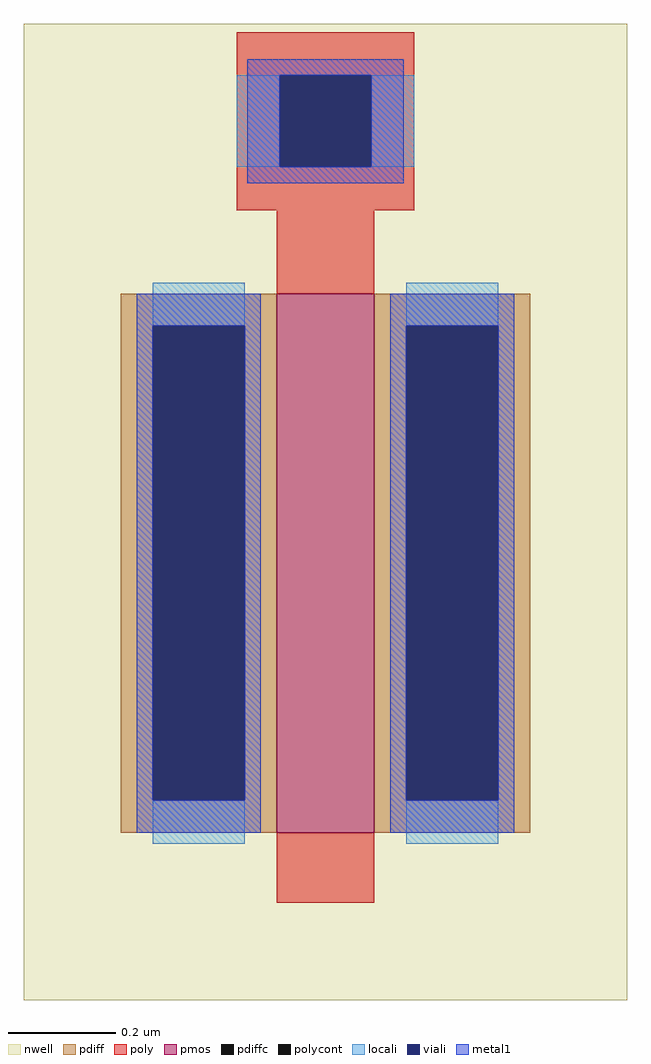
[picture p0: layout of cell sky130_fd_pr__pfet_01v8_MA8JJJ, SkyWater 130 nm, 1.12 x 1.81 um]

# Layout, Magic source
magic
tech sky130A
magscale 1 2
<< nwell >>
rect -112 -198 112 164
<< pmos >>
rect -18 -136 18 64
<< pdiff >>
rect -76 52 -18 64
rect -76 -124 -64 52
rect -30 -124 -18 52
rect -76 -136 -18 -124
rect 18 52 76 64
rect 18 -124 30 52
rect 64 -124 76 52
rect 18 -136 76 -124
<< pdiffc >>
rect -64 -124 -30 52
rect 30 -124 64 52
<< poly >>
rect -33 145 33 161
rect -33 111 -17 145
rect 17 111 33 145
rect -33 95 33 111
rect -18 64 18 95
rect -18 -162 18 -136
<< polycont >>
rect -17 111 17 145
<< locali >>
rect -33 111 -17 145
rect 17 111 33 145
rect -64 52 -30 68
rect -64 -140 -30 -124
rect 30 52 64 68
rect 30 -140 64 -124
<< viali >>
rect -17 111 17 145
rect -64 -124 -30 52
rect 30 -124 64 52
<< metal1 >>
rect -29 145 29 151
rect -29 111 -17 145
rect 17 111 29 145
rect -29 105 29 111
rect -70 52 -24 64
rect -70 -124 -64 52
rect -30 -124 -24 52
rect -70 -136 -24 -124
rect 24 52 70 64
rect 24 -124 30 52
rect 64 -124 70 52
rect 24 -136 70 -124
<< properties >>
string gencell sky130_fd_pr__pfet_01v8
string library sky130
string parameters w 1 l 0.18 m 1 nf 1 diffcov 100 polycov 100 guard 0 glc 1 grc 1 gtc 1 gbc 1 tbcov 100 rlcov 100 topc 1 botc 0 poverlap 0 doverlap 1 lmin 0.15 wmin 0.42 compatible {sky130_fd_pr__pfet_01v8  sky130_fd_pr__pfet_01v8_lvt sky130_fd_pr__pfet_01v8_hvt  sky130_fd_pr__pfet_g5v0d10v5} full_metal 1 viasrc 100 viadrn 100 viagate 100 viagb 0 viagr 0 viagl 0 viagt 0
<< end >>
